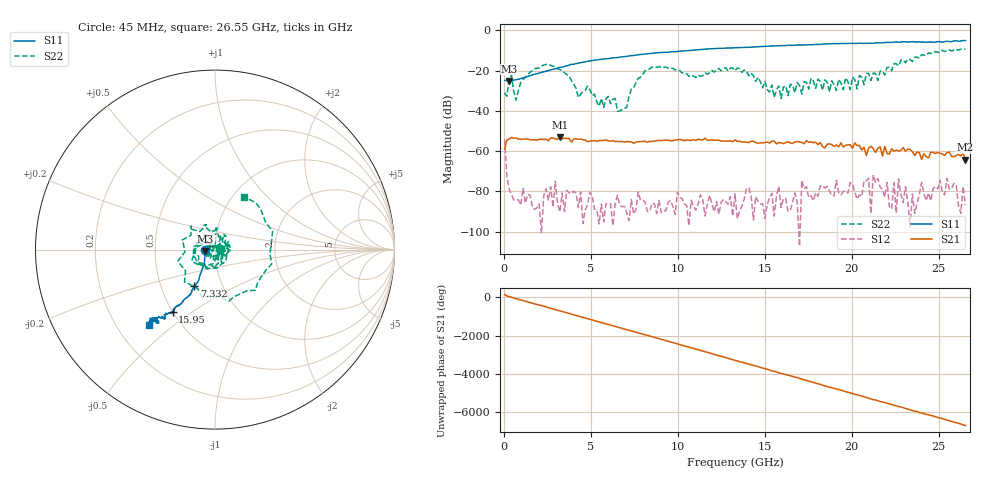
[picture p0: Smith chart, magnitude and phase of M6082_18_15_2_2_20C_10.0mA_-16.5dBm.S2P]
!  2-Port S-parameters saved by WinCal
! VAR MeasName=S-Parameters (CALIBRATED_DATA) read from VNA (C)
! VAR MeasDate=9/29/2015 3:01:05 PM
! VAR NAME=M6082_18_15_2_2_20C_10.0mA_-16.5dBm
! VAR FILENAME=M6082_18_15_2_2_20C_10.0mA_-16.5dBm.S2P
! VAR DATE=9/29/2015 3:01:05 PM
! VAR PHYS_PORTS=2,1
! VAR ObjTypeName=DATASET
! VAR IndexType=Frequency
# Hz S RI R 50
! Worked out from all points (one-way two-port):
!   201 points, 45 MHz to 26.55 GHz, reference 50 ohm
!   highest |S21| = -52.96 dB at 3.225 GHz (marker M1); lowest = -64.2 dB at 26.55 GHz (marker M2)
!   lowest |S11| = -25.2 dB at 310 MHz (marker M3), VSWR 1.12, Z = 44.8 - j0.72 ohm
!   |S11| at or under -10 dB: start of sweep to 10.68 GHz
!   |S22| runs from -40.2 to -9.2 dB; largest |S21 - S12| = 0.0029
!   S11 on the Smith chart (normalised r, x): 45 MHz: 0.89, -0.00; 7.332 GHz: 0.73, -0.32; 15.95 GHz: 0.50, -0.42; 26.55 GHz: 0.34, -0.41
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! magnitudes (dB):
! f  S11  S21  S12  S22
! 45 MHz  -24.8  -59.1  -54.2  -31.0
! 177.5 MHz  -25.0  -54.4  -72.6  -32.8
! 310 MHz  -25.2  -53.9  -79.0  -23.4
! 707.5 MHz  -24.5  -53.5  -84.3  -34.6
! 1.768 GHz  -21.8  -54.4  -88.9  -19.0
! 3.225 GHz  -18.4  -53.0  -90.0  -19.6
! 4.55 GHz  -15.9  -54.3  -95.9  -30.3
! 6.537 GHz  -13.5  -55.2  -81.9  -40.2
! 7.332 GHz  -12.6  -55.4  -84.0  -29.2
! 8.922 GHz  -11.1  -54.7  -84.4  -18.0
! 13.29 GHz  -8.6  -54.3  -81.1  -20.1
! 15.95 GHz  -7.6  -55.9  -88.0  -33.8
! 17.8 GHz  -7.1  -55.8  -84.5  -25.1
! 20.32 GHz  -6.5  -57.2  -83.8  -29.1
! 20.98 GHz  -6.4  -58.5  -73.4  -21.3
! 21.11 GHz  -6.5  -57.6  -91.0  -24.9
! 21.25 GHz  -6.4  -58.7  -71.7  -21.2
! 22.17 GHz  -6.0  -61.4  -87.4  -18.4
! 22.7 GHz  -5.9  -59.9  -73.7  -17.7
! 25.35 GHz  -5.6  -62.0  -81.6  -10.5
! 25.48 GHz  -5.3  -60.7  -73.5  -10.3
! 26.55 GHz  -5.1  -64.2  -86.8  -9.5
